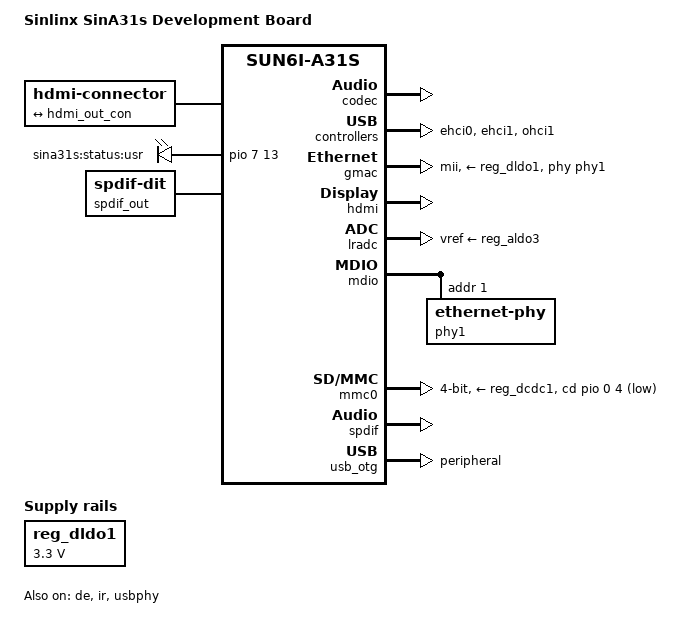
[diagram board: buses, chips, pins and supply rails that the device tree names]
FASTVC-BENCH-CORPUS:linux-main-100k-v1-e0bd41dc-8e12-4f1b-978d-a3645ae59da0
/*
 * Copyright 2015 Chen-Yu Tsai <wens@csie.org>
 *
 * This file is dual-licensed: you can use it either under the terms
 * of the GPL or the X11 license, at your option. Note that this dual
 * licensing only applies to this file, and not this project as a
 * whole.
 *
 *  a) This file is free software; you can redistribute it and/or
 *     modify it under the terms of the GNU General Public License as
 *     published by the Free Software Foundation; either version 2 of the
 *     License, or (at your option) any later version.
 *
 *     This file is distributed in the hope that it will be useful,
 *     but WITHOUT ANY WARRANTY; without even the implied warranty of
 *     MERCHANTABILITY or FITNESS FOR A PARTICULAR PURPOSE.  See the
 *     GNU General Public License for more details.
 *
 * Or, alternatively,
 *
 *  b) Permission is hereby granted, free of charge, to any person
 *     obtaining a copy of this software and associated documentation
 *     files (the "Software"), to deal in the Software without
 *     restriction, including without limitation the rights to use,
 *     copy, modify, merge, publish, distribute, sublicense, and/or
 *     sell copies of the Software, and to permit persons to whom the
 *     Software is furnished to do so, subject to the following
 *     conditions:
 *
 *     The above copyright notice and this permission notice shall be
 *     included in all copies or substantial portions of the Software.
 *
 *     THE SOFTWARE IS PROVIDED "AS IS", WITHOUT WARRANTY OF ANY KIND,
 *     EXPRESS OR IMPLIED, INCLUDING BUT NOT LIMITED TO THE WARRANTIES
 *     OF MERCHANTABILITY, FITNESS FOR A PARTICULAR PURPOSE AND
 *     NONINFRINGEMENT. IN NO EVENT SHALL THE AUTHORS OR COPYRIGHT
 *     HOLDERS BE LIABLE FOR ANY CLAIM, DAMAGES OR OTHER LIABILITY,
 *     WHETHER IN AN ACTION OF CONTRACT, TORT OR OTHERWISE, ARISING
 *     FROM, OUT OF OR IN CONNECTION WITH THE SOFTWARE OR THE USE OR
 *     OTHER DEALINGS IN THE SOFTWARE.
 */

/* The SinA31s development board has the SinA31s core board soldered on */
#include "sun6i-a31s-sina31s-core.dtsi"

#include <dt-bindings/input/input.h>

/ {
	model = "Sinlinx SinA31s Development Board";
	compatible = "sinlinx,sina31s-sdk", "allwinner,sun6i-a31s";

	chosen {
		stdout-path = "serial0:115200n8";
	};

	hdmi-connector {
		compatible = "hdmi-connector";
		type = "a";

		port {
			hdmi_con_in: endpoint {
				remote-endpoint = <&hdmi_out_con>;
			};
		};
	};

	leds {
		compatible = "gpio-leds";

		status {
			label = "sina31s:status:usr";
			gpios = <&pio 7 13 GPIO_ACTIVE_HIGH>; /* PH13 */
		};
	};

	sound {
		compatible = "simple-audio-card";
		simple-audio-card,name = "On-board SPDIF";
		simple-audio-card,cpu {
			sound-dai = <&spdif>;
		};

		simple-audio-card,codec {
			sound-dai = <&spdif_out>;
		};
	};

	spdif_out: spdif-out {
		#sound-dai-cells = <0>;
		compatible = "linux,spdif-dit";
	};
};

&codec {
	allwinner,audio-routing =
		"Line Out", "LINEOUT",
		"MIC1", "Mic",
		"Mic",	"MBIAS";
	status = "okay";
};

&de {
	status = "okay";
};

&ehci0 {
	/* USB 2.0 4 port hub IC */
	status = "okay";
};

&ehci1 {
	status = "okay";
};

&gmac {
	pinctrl-names = "default";
	pinctrl-0 = <&gmac_mii_pins>;
	phy-handle = <&phy1>;
	phy-mode = "mii";
	phy-supply = <&reg_dldo1>;
	status = "okay";
};

&hdmi {
	status = "okay";
};

&hdmi_out {
	hdmi_out_con: endpoint {
		remote-endpoint = <&hdmi_con_in>;
	};
};

&ir {
	pinctrl-names = "default";
	pinctrl-0 = <&s_ir_rx_pin>;
	status = "okay";
};

&lradc {
	vref-supply = <&reg_aldo3>;
	status = "okay";

	button-158 {
		label = "Volume Up";
		linux,code = <KEY_VOLUMEUP>;
		channel = <0>;
		voltage = <158730>;
	};

	button-349 {
		label = "Volume Down";
		linux,code = <KEY_VOLUMEDOWN>;
		channel = <0>;
		voltage = <349206>;
	};
};

&mdio {
	phy1: ethernet-phy@1 {
		reg = <1>;
	};
};

&mmc0 {
	vmmc-supply = <&reg_dcdc1>;
	bus-width = <4>;
	cd-gpios = <&pio 0 4 GPIO_ACTIVE_LOW>; /* PA4 */
	status = "okay";
};

&ohci1 {
	status = "okay";
};

&reg_dldo1 {
	regulator-min-microvolt = <3300000>;
	regulator-max-microvolt = <3300000>;
	regulator-name = "vcc-gmac-phy";
};

&spdif {
	pinctrl-names = "default";
/* bench 496.1.0 65887e2f7089 */
/* bench 496.1.1 b9f82b0562aa */
/* bench 496.1.2 3891b7afd9df */
/* bench 496.1.3 2bdd97b8663e */
/* bench 496.1.4 0ce9dfc679fd */
/* bench 496.1.5 c785b5933305 */
/* bench 496.1.6 ccfe2739fe4f */
/* bench 496.1.7 23eb38e9f6db */
/* bench 496.1.8 a297efe1a7ec */
/* bench 496.1.9 1b5edabb0f0a */
/* bench 496.1.10 4a4f2c63e485 */
/* bench 496.1.11 efbe7e79dfb1 */
/* bench 496.1.12 9fb7b5260809 */
/* bench 496.1.13 1b11a99ca680 */
	pinctrl-0 = <&spdif_tx_pin>;
	status = "okay";
};

&usb_otg {
	dr_mode = "peripheral";
	status = "okay";
};

&usbphy {
	status = "okay";
};
/* bench 24017.0.0 c255872fbd9a */
